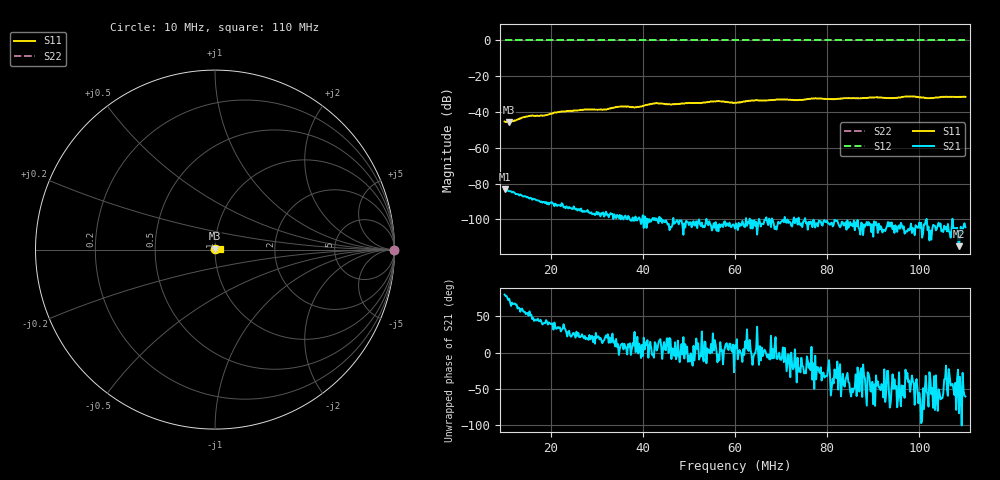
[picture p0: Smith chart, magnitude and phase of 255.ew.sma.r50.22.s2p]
! Anritsu VNA Master:  Model: MS2036C/10/77
! SN:  1601066
! /card0/usr/255.ew.sma.r50.22.s2p
! Existing Calibration Information:
! TYPE:  Current Settings,  Active Cal Settings
! TIME:  12/19/2017 06:24:42 PM,  12/19/2017 06:04:41 PM
! INTERNAL TEMP:  41.8 C,  39.8 C
! # POINTS:  501,  501
! START FREQ:  10.000 MHz,  10.000 MHz
! STOP FREQ:  110.000 MHz,  110.000 MHz
! SOURCE POWER:  High,  High
! IFBW:  100 Hz,  100 Hz
! AVG FACTOR:  1 ,  1
! REF PLANE 1:  0 mm,  0 mm
! REF PLANE 2:  0 mm,  0 mm
! CAL TYPE:  Full S11,  Full S11
! CAL METHOD:  SOLT,  SOLT
! CAL LINE TYPE:  Coax,  Coax
! DUT PORT 1:  N-Conn(F),  N-Conn(F)
! DUT PORT 2:  K-Conn(F),  K-Conn(F)
! CAL STATUS:  OK: Accuracy High,  --
# GHZ S DB R 50.0
! FREQ.GHZ  S11DB  S11A  S21DB  S21A  S12DB  S12A  S22DB  S22A
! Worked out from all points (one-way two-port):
!   501 points, 10 MHz to 110 MHz, reference 50 ohm
!   highest |S21| = -83.23 dB at 10 MHz (marker M1); lowest = -115.0 dB at 108.6 MHz (marker M2)
!   lowest |S11| = -45.5 dB at 11 MHz (marker M3), VSWR 1.01, Z = 50.2 + j0.5 ohm
!   |S11| at or under -10 dB: start of sweep to end of sweep
!   |S22| runs from 0.0 to 0.0 dB; largest |S21 - S12| = 1
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0.01  -45.32 73.2  -83.23 80.1  0.00 0.0  0.00 0.0
0.011  -45.51 69.8  -84.23 74.2  0.00 0.0  0.00 0.0
0.0156  -42.06 64.8  -87.94 51.2  0.00 0.0  0.00 0.0
0.0186  -42.04 59.3  -90.34 41.0  0.00 0.0  0.00 0.0
0.022  -39.83 57.5  -92.16 34.9  0.00 0.0  0.00 0.0
0.0268  -38.79 57.4  -95.63 25.4  0.00 0.0  0.00 0.0
0.0316  -38.61 53.1  -98.44 17.3  0.00 0.0  0.00 0.0
0.0358  -36.98 52.4  -99.99 4.6  0.00 0.0  0.00 0.0
0.0386  -37.28 47.4  -100.48 1.8  0.00 0.0  0.00 0.0
0.0434  -35.18 49.2  -102.16 13.9  0.00 0.0  0.00 0.0
0.0464  -35.63 47.5  -103.24 5.9  0.00 0.0  0.00 0.0
0.0564  -33.89 41.5  -106.67 -3.2  0.00 0.0  0.00 0.0
0.06  -34.85 37.9  -105.17 10.1  0.00 0.0  0.00 0.0
0.0642  -33.56 33.2  -100.49 -1.3  0.00 0.0  0.00 0.0
0.0734  -33.32 29.0  -99.69 -40.9  0.00 0.0  0.00 0.0
0.0768  -32.50 25.0  -104.34 -37.2  0.00 0.0  0.00 0.0
0.0908  -31.71 18.3  -103.33 -45.2  0.00 0.0  0.00 0.0
0.0934  -32.16 16.8  -103.93 -53.0  0.00 0.0  0.00 0.0
0.0978  -31.26 13.1  -106.13 -38.2  0.00 0.0  0.00 0.0
0.102  -32.26 11.5  -104.01 -74.2  0.00 0.0  0.00 0.0
0.1086  -31.59 5.8  -114.96 -83.3  0.00 0.0  0.00 0.0
0.11  -31.51 4.0  -104.35 -60.3  0.00 0.0  0.00 0.0
